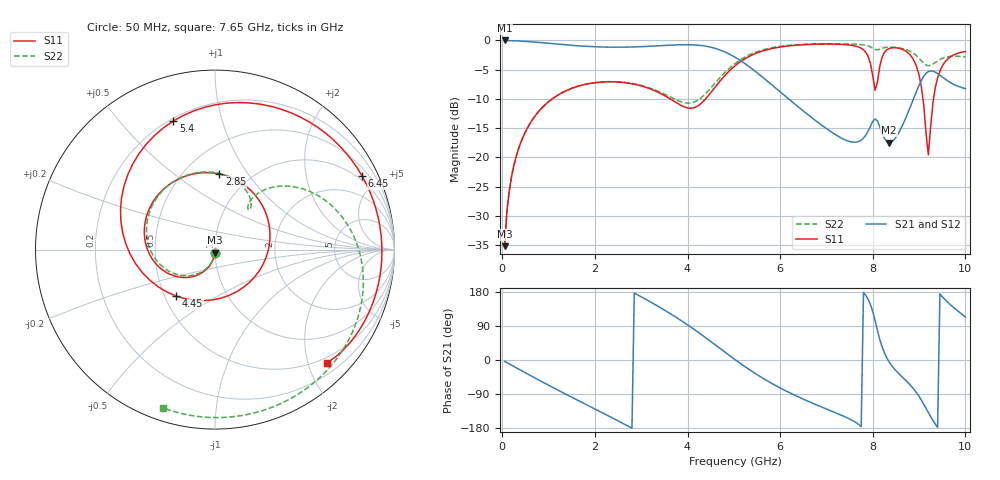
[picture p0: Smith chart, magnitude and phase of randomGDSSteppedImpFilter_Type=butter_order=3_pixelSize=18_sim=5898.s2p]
! freq	dB(S11)	phase(S11)	dB(S12)	phase(S12)
!  dB(S21)	phase(S21)	dB(S22)	phase(S22)
!S-par simulation data
#  GHz  S  DB  R 50
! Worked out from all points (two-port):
!   200 points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, 50 MHz to 10 GHz, reference 50 ohm
!   highest |S21| = -0.01 dB at 50 MHz (marker M1); lowest = -17.5 dB at 8.35 GHz (marker M2)
!   |S21| within 3 dB of the highest: start of sweep to 5.055 GHz
!   lowest |S11| = -35.2 dB at 50 MHz (marker M3), VSWR 1.04, Z = 49.9 - j1.74 ohm
!   |S11| at or under -10 dB: start of sweep to 1.077 GHz; 3.626 GHz to 4.389 GHz (763.5 MHz wide, 19.1 % of centre); 9.083 GHz to 9.312 GHz (229 MHz wide, 2.49 % of centre)
!   |S22| runs from -35.2 to -0.6 dB; largest |S21 - S12| = 0
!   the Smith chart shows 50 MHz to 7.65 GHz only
!   S11 on the Smith chart (normalised r, x): 50 MHz: 1.00, -0.03; 2.85 GHz: 0.73, +0.75; 4.45 GHz: 0.57, -0.33; 5.4 GHz: 0.21, +0.71; 6.45 GHz: 0.80, +4.09; 7.65 GHz: 0.39, -2.34
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0.05  -35.17 -92.7  -0.01 -3.5  -0.01 -3.5  -35.17 -92.9
0.2  -23.27 -103.3  -0.04 -13.7  -0.04 -13.7  -23.28 -104.3
0.5  -15.63 -123.1  -0.17 -33.8  -0.17 -33.8  -15.63 -125.5
1.1  -9.86 -161.1  -0.57 -73.0  -0.57 -73.0  -9.87 -166.1
1.75  -7.59 159.0  -0.98 -113.8  -0.98 -113.8  -7.59 152.3
2.85  -7.48 86.8  -1.11 176.8  -1.11 176.8  -7.44 86.7
3.4  -9.00 39.5  -0.91 139.1  -0.91 139.1  -8.81 59.6
3.95  -11.42 -34.2  -0.74 96.9  -0.74 96.9  -10.68 49.4
4.45  -9.44 -129.9  -1.07 53.6  -1.07 53.6  -8.59 53.6
5.05  -4.17 145.1  -2.99 -1.2  -2.99 -1.2  -3.81 28.2
5.4  -2.46 108.0  -4.90 -30.7  -4.90 -30.7  -2.23 6.3
6.45  -0.76 26.5  -11.75 -100.6  -11.75 -100.6  -0.70 -52.5
6.7  -0.66 11.2  -13.31 -114.0  -13.31 -114.0  -0.61 -64.5
7.65  -1.02 -45.2  -17.37 -166.1  -17.37 -166.1  -0.66 -108.1
8  -6.10 -73.3  -13.85 127.7  -13.85 127.7  -1.34 -125.4
8.1  -7.17 -34.7  -13.76 78.4  -13.76 78.4  -1.63 -126.7
8.35  -1.40 -55.2  -17.47 -4.4  -17.47 -4.4  -1.14 -137.3
8.7  -1.77 -89.9  -13.49 -52.2  -13.49 -52.2  -1.52 -158.2
8.95  -4.57 -125.8  -8.59 -87.0  -8.59 -87.0  -2.66 -174.2
9.2  -19.57 94.2  -5.33 -138.6  -5.33 -138.6  -4.32 -179.0
9.45  -5.24 -20.1  -5.96 174.3  -5.96 174.3  -3.26 172.8
10  -1.90 -67.8  -8.24 113.5  -8.24 113.5  -2.86 115.1
